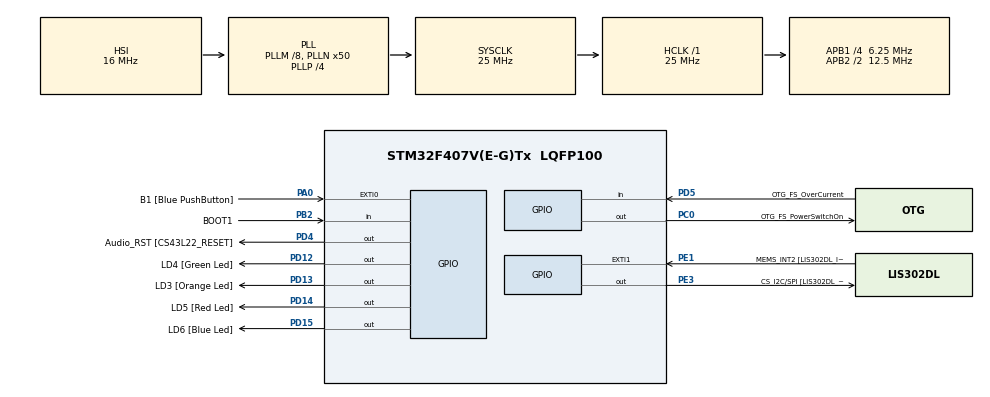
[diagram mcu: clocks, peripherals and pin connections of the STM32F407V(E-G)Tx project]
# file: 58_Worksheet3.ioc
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Mcu.Family=STM32F4
Mcu.Name=STM32F407V(E-G)Tx
Mcu.Package=LQFP100
NVIC.EXTI0_IRQn=true\:0\:0\:false\:false\:true\:true\:true\:true
NVIC.PriorityGroup=NVIC_PRIORITYGROUP_0
PA0-WKUP.GPIO_Label=B1 [Blue PushButton]
PA0-WKUP.Signal=GPXTI0
PA10.GPIO_Label=OTG_FS_ID
PA10.GPIO_Mode=GPIO_MODE_AF_PP
PA10.GPIO_PuPd=GPIO_NOPULL
PA10.GPIO_Speed=GPIO_SPEED_FREQ_LOW
PA10.Signal=USB_OTG_FS_ID
PA11.GPIO_Label=OTG_FS_DM
PA11.GPIO_Mode=GPIO_MODE_AF_PP
PA11.GPIO_PuPd=GPIO_NOPULL
PA11.GPIO_Speed=GPIO_SPEED_FREQ_LOW
PA11.Signal=USB_OTG_FS_DM
PA12.GPIO_Label=OTG_FS_DP
PA12.GPIO_Mode=GPIO_MODE_AF_PP
PA12.GPIO_PuPd=GPIO_NOPULL
PA12.GPIO_Speed=GPIO_SPEED_FREQ_LOW
PA12.Signal=USB_OTG_FS_DP
PA13.GPIO_Label=SWDIO
PA13.Signal=SYS_JTMS-SWDIO
PA14.GPIO_Label=SWCLK
PA14.Signal=SYS_JTCK-SWCLK
PA4.GPIO_Label=I2S3_WS [CS43L22_LRCK]
PA4.GPIO_Mode=GPIO_MODE_AF_PP
PA4.GPIO_PuPd=GPIO_NOPULL
PA4.GPIO_Speed=GPIO_SPEED_FREQ_LOW
PA4.Signal=I2S3_WS
PA5.GPIO_Label=SPI1_SCK [LIS302DL_SCL/SPC]
PA5.GPIO_Mode=GPIO_MODE_AF_PP
PA5.GPIO_PuPd=GPIO_NOPULL
PA5.GPIO_Speed=GPIO_SPEED_FREQ_LOW
PA5.Signal=SPI1_SCK
PA6.GPIO_Label=SPI1_MISO [LIS302DL_SDO]
PA6.GPIO_Mode=GPIO_MODE_AF_PP
PA6.GPIO_PuPd=GPIO_NOPULL
PA6.GPIO_Speed=GPIO_SPEED_FREQ_LOW
PA6.Signal=SPI1_MISO
PA7.GPIO_Label=SPI1_MOSI [LIS302DL_SDA/SDI/SDO]
PA7.GPIO_Mode=GPIO_MODE_AF_PP
PA7.GPIO_PuPd=GPIO_NOPULL
PA7.GPIO_Speed=GPIO_SPEED_FREQ_LOW
PA7.Signal=SPI1_MOSI
PA9.GPIO_Label=VBUS_FS
PA9.GPIO_Mode=GPIO_MODE_INPUT
PA9.GPIO_PuPd=GPIO_NOPULL
PA9.Signal=USB_OTG_FS_VBUS
PB10.GPIO_Label=CLK_IN [MP45DT02_CLK]
PB10.GPIO_Mode=GPIO_MODE_AF_PP
PB10.GPIO_PuPd=GPIO_NOPULL
PB10.GPIO_Speed=GPIO_SPEED_FREQ_LOW
PB10.Signal=I2S2_CK
PB2.GPIO_Label=BOOT1
PB2.GPIO_Mode=GPIO_MODE_INPUT
PB2.GPIO_PuPd=GPIO_NOPULL
PB2.Signal=GPIO_Input
PB3.GPIO_Label=SWO
PB3.Signal=SYS_JTDO-SWO
PB6.GPIO_Label=Audio_SCL [CS43L22_SCL]
PB6.GPIO_Mode=GPIO_MODE_AF_OD
PB6.GPIO_PuPd=GPIO_NOPULL
PB6.GPIO_Speed=GPIO_SPEED_FREQ_LOW
PB6.Signal=I2C1_SCL
PB9.GPIO_Label=Audio_SDA [CS43L22_SDA]
PB9.GPIO_Mode=GPIO_MODE_AF_OD
PB9.GPIO_PuPd=GPIO_NOPULL
PB9.GPIO_Speed=GPIO_SPEED_FREQ_LOW
PB9.Signal=I2C1_SDA
PC0.GPIO_Label=OTG_FS_PowerSwitchOn
PC0.GPIO_PuPd=GPIO_NOPULL
PC0.GPIO_Speed=GPIO_SPEED_FREQ_LOW
PC0.PinState=GPIO_PIN_SET
PC0.Signal=GPIO_Output
PC10.GPIO_Label=I2S3_SCK [CS43L22_SCLK]
PC10.GPIO_Mode=GPIO_MODE_AF_PP
PC10.GPIO_PuPd=GPIO_NOPULL
PC10.GPIO_Speed=GPIO_SPEED_FREQ_LOW
PC10.Signal=I2S3_CK
PC12.GPIO_Label=I2S3_SD [CS43L22_SDIN]
PC12.GPIO_Mode=GPIO_MODE_AF_PP
PC12.GPIO_PuPd=GPIO_NOPULL
PC12.GPIO_Speed=GPIO_SPEED_FREQ_LOW
PC12.Signal=I2S3_SD
PC14-OSC32_IN.GPIO_Label=PC14-OSC32_IN
PC14-OSC32_IN.Signal=RCC_OSC32_IN
PC15-OSC32_OUT.GPIO_Label=PC15-OSC32_OUT
PC15-OSC32_OUT.Signal=RCC_OSC32_OUT
PC3.GPIO_Label=PDM_OUT [MP45DT02_DOUT]
PC3.GPIO_Mode=GPIO_MODE_AF_PP
PC3.GPIO_PuPd=GPIO_NOPULL
PC3.GPIO_Speed=GPIO_SPEED_FREQ_LOW
PC3.Signal=I2S2_SD
PC7.GPIO_Label=I2S3_MCK [CS43L22_MCLK]
PC7.GPIO_Mode=GPIO_MODE_AF_PP
PC7.GPIO_PuPd=GPIO_NOPULL
PC7.GPIO_Speed=GPIO_SPEED_FREQ_LOW
PC7.Signal=I2S3_MCK
PD12.GPIO_Label=LD4 [Green Led]
PD12.GPIO_PuPd=GPIO_NOPULL
PD12.GPIO_Speed=GPIO_SPEED_FREQ_LOW
PD12.Signal=GPIO_Output
PD13.GPIO_Label=LD3 [Orange Led]
PD13.GPIO_PuPd=GPIO_NOPULL
PD13.GPIO_Speed=GPIO_SPEED_FREQ_LOW
PD13.Signal=GPIO_Output
PD14.GPIO_Label=LD5 [Red Led]
PD14.GPIO_PuPd=GPIO_NOPULL
PD14.GPIO_Speed=GPIO_SPEED_FREQ_LOW
PD14.Signal=GPIO_Output
PD15.GPIO_Label=LD6 [Blue Led]
PD15.GPIO_PuPd=GPIO_NOPULL
PD15.GPIO_Speed=GPIO_SPEED_FREQ_LOW
PD15.Signal=GPIO_Output
PD4.GPIO_Label=Audio_RST [CS43L22_RESET]
PD4.GPIO_PuPd=GPIO_NOPULL
PD4.GPIO_Speed=GPIO_SPEED_FREQ_LOW
PD4.Signal=GPIO_Output
PD5.GPIO_Label=OTG_FS_OverCurrent
PD5.GPIO_Mode=GPIO_MODE_INPUT
PD5.GPIO_PuPd=GPIO_NOPULL
PD5.Signal=GPIO_Input
PE1.GPIO_Label=MEMS_INT2 [LIS302DL_INT2]
PE1.GPIO_ModeDefaultEXTI=GPIO_MODE_EVT_RISING
PE1.GPIO_PuPd=GPIO_NOPULL
PE1.Signal=GPXTI1
PE3.GPIO_Label=CS_I2C/SPI [LIS302DL_CS_I2C/SPI]
PE3.GPIO_PuPd=GPIO_NOPULL
PE3.GPIO_Speed=GPIO_SPEED_FREQ_LOW
PE3.Signal=GPIO_Output
PH0-OSC_IN.GPIO_Label=PH0-OSC_IN
PH0-OSC_IN.Signal=RCC_OSC_IN
PH1-OSC_OUT.GPIO_Label=PH1-OSC_OUT
PH1-OSC_OUT.Signal=RCC_OSC_OUT
ProjectManager.HeapSize=0x200
ProjectManager.StackSize=0x400
ProjectManager.TargetToolchain=STM32CubeIDE
RCC.48MHZClocksFreq_Value=14285714.285714285
RCC.AHBFreq_Value=25000000
RCC.APB1CLKDivider=RCC_HCLK_DIV4
RCC.APB1Freq_Value=6250000
RCC.APB1TimFreq_Value=12500000
RCC.APB2CLKDivider=RCC_HCLK_DIV2
RCC.APB2Freq_Value=12500000
RCC.APB2TimFreq_Value=25000000
RCC.CortexFreq_Value=25000000
RCC.HCLKFreq_Value=25000000
RCC.HSE_VALUE=8000000
RCC.HSI_VALUE=16000000
RCC.LSE_VALUE=32768
RCC.PLLM=8
RCC.PLLN=50
RCC.PLLP=RCC_PLLP_DIV4
RCC.PLLQ=7
RCC.SYSCLKFreq_VALUE=25000000
RCC.SYSCLKSource=RCC_SYSCLKSOURCE_PLLCLK
RCC.VCOOutputFreq_Value=100000000
board=STM32F407G-DISC1

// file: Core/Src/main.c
/* USER CODE BEGIN Header */
/**
  ******************************************************************************
  * @file           : main.c
  * @brief          : Main program body
  ******************************************************************************
  * @attention
  *
  * Copyright (c) 2026 STMicroelectronics.
  * All rights reserved.
  *
  * This software is licensed under terms that can be found in the LICENSE file
  * in the root directory of this software component.
  * If no LICENSE file comes with this software, it is provided AS-IS.
  *
  ******************************************************************************
  */
/* USER CODE END Header */
#include "main.h"

/* USER CODE BEGIN PV */
uint8_t command = 0;
uint8_t receiver_led = 0;
/* USER CODE END PV */

void SystemClock_Config(void);
static void MX_GPIO_Init(void);

int main(void)
{

  /* MCU Configuration--------------------------------------------------------*/

  /* Reset of all peripherals, Initializes the Flash interface and the Systick. */
  HAL_Init();

  /* Configure the system clock */
  SystemClock_Config();

  /* Initialize all configured peripherals */
  MX_GPIO_Init();

  /* Infinite loop */
  while (1)
  {

    /* USER CODE BEGIN 3 */
	  HAL_GPIO_WritePin(GPIOD,
	                    GPIO_PIN_12|
	                    GPIO_PIN_13|
	                    GPIO_PIN_14|
	                    GPIO_PIN_15,
	                    GPIO_PIN_RESET);

	  switch(command)
	  {
	      case 1:     // ON Command
	          HAL_GPIO_WritePin(GPIOD, GPIO_PIN_12, GPIO_PIN_SET);
	          HAL_GPIO_WritePin(GPIOD, GPIO_PIN_13, GPIO_PIN_SET);
	          break;

	      case 2:     // OFF Command
	          HAL_GPIO_WritePin(GPIOD, GPIO_PIN_14, GPIO_PIN_SET);
	          break;

	      case 3:     // BLINK Command
	          for(int i=0;i<3;i++)
	          {
	              HAL_GPIO_TogglePin(GPIOD, GPIO_PIN_12);
	              HAL_Delay(100);

	              HAL_GPIO_TogglePin(GPIOD, GPIO_PIN_12);
	              HAL_Delay(100);
	          }

	          HAL_GPIO_WritePin(GPIOD, GPIO_PIN_13, GPIO_PIN_SET);
	          command = 0;
	          break;

	      case 4:     // STATUS Command
	          HAL_GPIO_WritePin(GPIOD, GPIO_PIN_15, GPIO_PIN_SET);
	          HAL_GPIO_WritePin(GPIOD, GPIO_PIN_13, GPIO_PIN_SET);
	          break;

	      default:
	          break;
	  }

	  HAL_Delay(100);
  }
  /* USER CODE END 3 */
}

void SystemClock_Config(void)
{
  RCC_OscInitTypeDef RCC_OscInitStruct = {0};
  RCC_ClkInitTypeDef RCC_ClkInitStruct = {0};

  /** Configure the main internal regulator output voltage
  */
  __HAL_RCC_PWR_CLK_ENABLE();
  __HAL_PWR_VOLTAGESCALING_CONFIG(PWR_REGULATOR_VOLTAGE_SCALE1);

  /** Initializes the RCC Oscillators according to the specified parameters
  * in the RCC_OscInitTypeDef structure.
  */
  RCC_OscInitStruct.OscillatorType = RCC_OSCILLATORTYPE_HSI;
  RCC_OscInitStruct.HSIState = RCC_HSI_ON;
  RCC_OscInitStruct.HSICalibrationValue = RCC_HSICALIBRATION_DEFAULT;
  RCC_OscInitStruct.PLL.PLLState = RCC_PLL_ON;
  RCC_OscInitStruct.PLL.PLLSource = RCC_PLLSOURCE_HSI;
  RCC_OscInitStruct.PLL.PLLM = 8;
  RCC_OscInitStruct.PLL.PLLN = 50;
  RCC_OscInitStruct.PLL.PLLP = RCC_PLLP_DIV4;
  RCC_OscInitStruct.PLL.PLLQ = 7;
  if (HAL_RCC_OscConfig(&RCC_OscInitStruct) != HAL_OK)
  {
    Error_Handler();
  }

  /** Initializes the CPU, AHB and APB buses clocks
  */
  RCC_ClkInitStruct.ClockType = RCC_CLOCKTYPE_HCLK|RCC_CLOCKTYPE_SYSCLK
                              |RCC_CLOCKTYPE_PCLK1|RCC_CLOCKTYPE_PCLK2;
  RCC_ClkInitStruct.SYSCLKSource = RCC_SYSCLKSOURCE_PLLCLK;
  RCC_ClkInitStruct.AHBCLKDivider = RCC_SYSCLK_DIV1;
  RCC_ClkInitStruct.APB1CLKDivider = RCC_HCLK_DIV4;
  RCC_ClkInitStruct.APB2CLKDivider = RCC_HCLK_DIV2;

  if (HAL_RCC_ClockConfig(&RCC_ClkInitStruct, FLASH_LATENCY_0) != HAL_OK)
  {
    Error_Handler();
  }
}

static void MX_GPIO_Init(void)
{
  GPIO_InitTypeDef GPIO_InitStruct = {0};

  /* GPIO Ports Clock Enable */
  __HAL_RCC_GPIOE_CLK_ENABLE();
  __HAL_RCC_GPIOC_CLK_ENABLE();
  __HAL_RCC_GPIOH_CLK_ENABLE();
  __HAL_RCC_GPIOA_CLK_ENABLE();
  __HAL_RCC_GPIOB_CLK_ENABLE();
  __HAL_RCC_GPIOD_CLK_ENABLE();

  /*Configure GPIO pin Output Level */
  HAL_GPIO_WritePin(CS_I2C_SPI_GPIO_Port, CS_I2C_SPI_Pin, GPIO_PIN_RESET);

  /*Configure GPIO pin Output Level */
  HAL_GPIO_WritePin(OTG_FS_PowerSwitchOn_GPIO_Port, OTG_FS_PowerSwitchOn_Pin, GPIO_PIN_SET);

  /*Configure GPIO pin Output Level */
  HAL_GPIO_WritePin(GPIOD, LD4_Pin|LD3_Pin|LD5_Pin|LD6_Pin
                          |Audio_RST_Pin, GPIO_PIN_RESET);

  /*Configure GPIO pin : CS_I2C_SPI_Pin */
  GPIO_InitStruct.Pin = CS_I2C_SPI_Pin;
  GPIO_InitStruct.Mode = GPIO_MODE_OUTPUT_PP;
  GPIO_InitStruct.Pull = GPIO_NOPULL;
  GPIO_InitStruct.Speed = GPIO_SPEED_FREQ_LOW;
  HAL_GPIO_Init(CS_I2C_SPI_GPIO_Port, &GPIO_InitStruct);

  /*Configure GPIO pin : OTG_FS_PowerSwitchOn_Pin */
  GPIO_InitStruct.Pin = OTG_FS_PowerSwitchOn_Pin;
  GPIO_InitStruct.Mode = GPIO_MODE_OUTPUT_PP;
  GPIO_InitStruct.Pull = GPIO_NOPULL;
  GPIO_InitStruct.Speed = GPIO_SPEED_FREQ_LOW;
  HAL_GPIO_Init(OTG_FS_PowerSwitchOn_GPIO_Port, &GPIO_InitStruct);

  /*Configure GPIO pin : PDM_OUT_Pin */
  GPIO_InitStruct.Pin = PDM_OUT_Pin;
  GPIO_InitStruct.Mode = GPIO_MODE_AF_PP;
  GPIO_InitStruct.Pull = GPIO_NOPULL;
  GPIO_InitStruct.Speed = GPIO_SPEED_FREQ_LOW;
  GPIO_InitStruct.Alternate = GPIO_AF5_SPI2;
  HAL_GPIO_Init(PDM_OUT_GPIO_Port, &GPIO_InitStruct);

  /*Configure GPIO pin : B1_Pin */
  GPIO_InitStruct.Pin = B1_Pin;
  GPIO_InitStruct.Mode = GPIO_MODE_IT_RISING;
  GPIO_InitStruct.Pull = GPIO_NOPULL;
  HAL_GPIO_Init(B1_GPIO_Port, &GPIO_InitStruct);

  /*Configure GPIO pin : I2S3_WS_Pin */
  GPIO_InitStruct.Pin = I2S3_WS_Pin;
  GPIO_InitStruct.Mode = GPIO_MODE_AF_PP;
  GPIO_InitStruct.Pull = GPIO_NOPULL;
  GPIO_InitStruct.Speed = GPIO_SPEED_FREQ_LOW;
  GPIO_InitStruct.Alternate = GPIO_AF6_SPI3;
  HAL_GPIO_Init(I2S3_WS_GPIO_Port, &GPIO_InitStruct);

  /*Configure GPIO pins : SPI1_SCK_Pin SPI1_MISO_Pin SPI1_MOSI_Pin */
  GPIO_InitStruct.Pin = SPI1_SCK_Pin|SPI1_MISO_Pin|SPI1_MOSI_Pin;
  GPIO_InitStruct.Mode = GPIO_MODE_AF_PP;
  GPIO_InitStruct.Pull = GPIO_NOPULL;
  GPIO_InitStruct.Speed = GPIO_SPEED_FREQ_LOW;
  GPIO_InitStruct.Alternate = GPIO_AF5_SPI1;
  HAL_GPIO_Init(GPIOA, &GPIO_InitStruct);

  /*Configure GPIO pin : BOOT1_Pin */
  GPIO_InitStruct.Pin = BOOT1_Pin;
  GPIO_InitStruct.Mode = GPIO_MODE_INPUT;
  GPIO_InitStruct.Pull = GPIO_NOPULL;
  HAL_GPIO_Init(BOOT1_GPIO_Port, &GPIO_InitStruct);

  /*Configure GPIO pin : CLK_IN_Pin */
  GPIO_InitStruct.Pin = CLK_IN_Pin;
  GPIO_InitStruct.Mode = GPIO_MODE_AF_PP;
  GPIO_InitStruct.Pull = GPIO_NOPULL;
  GPIO_InitStruct.Speed = GPIO_SPEED_FREQ_LOW;
  GPIO_InitStruct.Alternate = GPIO_AF5_SPI2;
  HAL_GPIO_Init(CLK_IN_GPIO_Port, &GPIO_InitStruct);

  /*Configure GPIO pins : LD4_Pin LD3_Pin LD5_Pin LD6_Pin
                           Audio_RST_Pin */
  GPIO_InitStruct.Pin = LD4_Pin|LD3_Pin|LD5_Pin|LD6_Pin
                          |Audio_RST_Pin;
  GPIO_InitStruct.Mode = GPIO_MODE_OUTPUT_PP;
  GPIO_InitStruct.Pull = GPIO_NOPULL;
  GPIO_InitStruct.Speed = GPIO_SPEED_FREQ_LOW;
  HAL_GPIO_Init(GPIOD, &GPIO_InitStruct);

  /*Configure GPIO pins : I2S3_MCK_Pin I2S3_SCK_Pin I2S3_SD_Pin */
  GPIO_InitStruct.Pin = I2S3_MCK_Pin|I2S3_SCK_Pin|I2S3_SD_Pin;
  GPIO_InitStruct.Mode = GPIO_MODE_AF_PP;
  GPIO_InitStruct.Pull = GPIO_NOPULL;
  GPIO_InitStruct.Speed = GPIO_SPEED_FREQ_LOW;
  GPIO_InitStruct.Alternate = GPIO_AF6_SPI3;
  HAL_GPIO_Init(GPIOC, &GPIO_InitStruct);

  /*Configure GPIO pin : VBUS_FS_Pin */
  GPIO_InitStruct.Pin = VBUS_FS_Pin;
  GPIO_InitStruct.Mode = GPIO_MODE_INPUT;
  GPIO_InitStruct.Pull = GPIO_NOPULL;
  HAL_GPIO_Init(VBUS_FS_GPIO_Port, &GPIO_InitStruct);

  /*Configure GPIO pins : OTG_FS_ID_Pin OTG_FS_DM_Pin OTG_FS_DP_Pin */
  GPIO_InitStruct.Pin = OTG_FS_ID_Pin|OTG_FS_DM_Pin|OTG_FS_DP_Pin;
  GPIO_InitStruct.Mode = GPIO_MODE_AF_PP;
  GPIO_InitStruct.Pull = GPIO_NOPULL;
  GPIO_InitStruct.Speed = GPIO_SPEED_FREQ_LOW;
  GPIO_InitStruct.Alternate = GPIO_AF10_OTG_FS;
  HAL_GPIO_Init(GPIOA, &GPIO_InitStruct);

  /*Configure GPIO pin : OTG_FS_OverCurrent_Pin */
  GPIO_InitStruct.Pin = OTG_FS_OverCurrent_Pin;
  GPIO_InitStruct.Mode = GPIO_MODE_INPUT;
  GPIO_InitStruct.Pull = GPIO_NOPULL;
  HAL_GPIO_Init(OTG_FS_OverCurrent_GPIO_Port, &GPIO_InitStruct);

  /*Configure GPIO pins : Audio_SCL_Pin Audio_SDA_Pin */
  GPIO_InitStruct.Pin = Audio_SCL_Pin|Audio_SDA_Pin;
  GPIO_InitStruct.Mode = GPIO_MODE_AF_OD;
  GPIO_InitStruct.Pull = GPIO_NOPULL;
  GPIO_InitStruct.Speed = GPIO_SPEED_FREQ_LOW;
  GPIO_InitStruct.Alternate = GPIO_AF4_I2C1;
  HAL_GPIO_Init(GPIOB, &GPIO_InitStruct);

  /*Configure GPIO pin : MEMS_INT2_Pin */
  GPIO_InitStruct.Pin = MEMS_INT2_Pin;
  GPIO_InitStruct.Mode = GPIO_MODE_EVT_RISING;
  GPIO_InitStruct.Pull = GPIO_NOPULL;
  HAL_GPIO_Init(MEMS_INT2_GPIO_Port, &GPIO_InitStruct);

  /* EXTI interrupt init*/
  HAL_NVIC_SetPriority(EXTI0_IRQn, 0, 0);
  HAL_NVIC_EnableIRQ(EXTI0_IRQn);

}

/* USER CODE BEGIN 4 */
void HAL_GPIO_EXTI_Callback(uint16_t GPIO_Pin)
{
    if(GPIO_Pin == GPIO_PIN_0)
    {
        command++;

        if(command > 4)
            command = 1;
    }
}
/* USER CODE END 4 */

void Error_Handler(void)
{
  __disable_irq();
  while (1)
  {
  }
}
